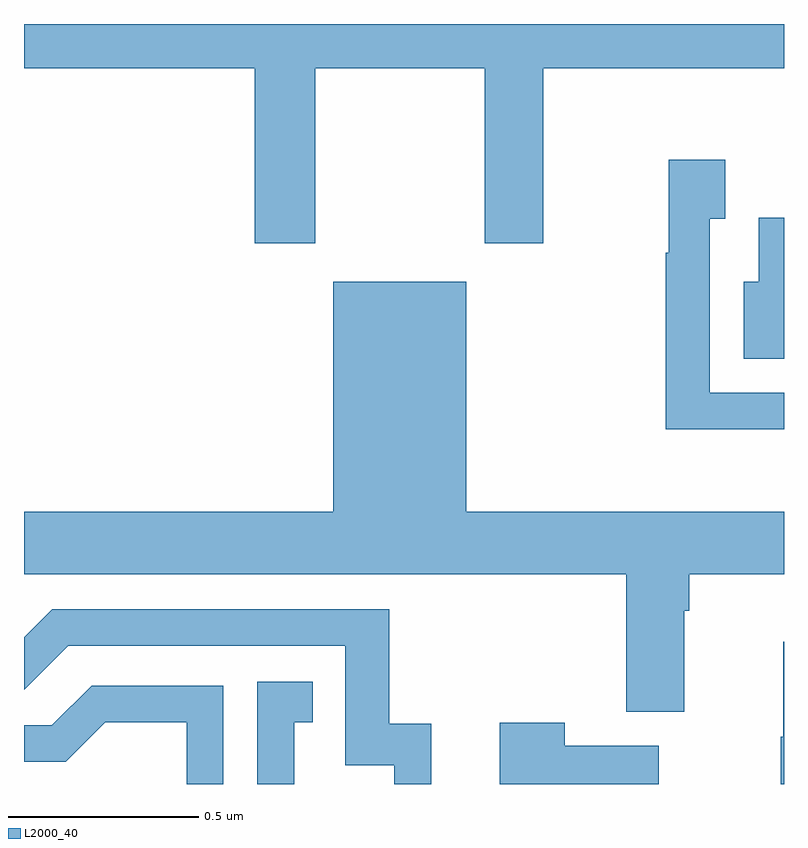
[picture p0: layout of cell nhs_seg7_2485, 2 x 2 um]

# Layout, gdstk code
import gdstk
lib = gdstk.Library(unit=1e-6, precision=1e-09)
def P(c, l, *ps):  # polygons
    for p in ps: c.add(gdstk.Polygon(p, *l))
L2000_40 = (2000, 40)

nhs_seg7_2485 = lib.new_cell('nhs_seg7_2485')
P(nhs_seg7_2485, L2000_40, [(145.767,1065.884),(146.212,1065.884),(146.212,1065.423),(146.367,1065.423),(146.367,1065.884),(147,1065.884),(147,1066),(145,1066),(145,1065.884),(145.607,1065.884),(145.607,1065.423),(145.767,1065.423)],
  [(146.981,1064.934),(147,1064.934),(147,1065.03),(146.805,1065.03),(146.805,1065.487),(146.845,1065.487),(146.845,1065.643),(146.697,1065.643),(146.697,1065.398),(146.689,1065.398),(146.689,1064.933),(146.981,1064.933)],
  [(147,1065.49),(146.933,1065.49),(146.933,1065.322),(146.894,1065.322),(146.894,1065.119),(147,1065.119)],
  [(146.737,1064.456),(146.75,1064.456),(146.75,1064.552),(147,1064.552),(147,1064.716),(146.164,1064.716),(146.164,1065.322),(145.814,1065.322),(145.814,1064.716),(145,1064.716),(145,1064.552),(146.585,1064.552),(146.585,1064.19),(146.737,1064.19)],
  [(146.072,1064.158),(145.961,1064.158),(145.961,1064.46),(145.074,1064.46),(145,1064.386),(145,1064.248),(145.116,1064.364),(145.845,1064.364),(145.845,1064.049),(145.974,1064.049),(145.974,1064),(146.072,1064)],
  [(147,1064.374),(146.998,1064.374),(146.998,1064.124),(146.991,1064.124),(146.991,1064),(147,1064)],
  [(145.711,1064.163),(145.76,1064.163),(145.76,1064.269),(145.614,1064.269),(145.614,1064),(145.711,1064)],
  [(145.524,1064.259),(145.178,1064.259),(145.073,1064.154),(145,1064.154),(145,1064.058),(145.11,1064.058),(145.214,1064.162),(145.428,1064.162),(145.428,1064),(145.524,1064)],
  [(146.671,1064.101),(146.423,1064.101),(146.423,1064.161),(146.252,1064.161),(146.252,1064),(146.671,1064)])

lib.write_gds('nhs_seg7_2485.gds')
